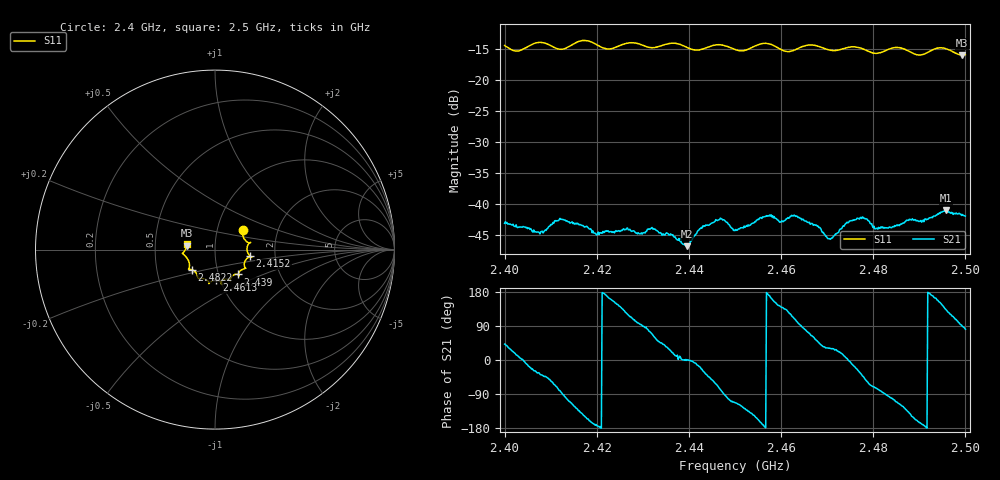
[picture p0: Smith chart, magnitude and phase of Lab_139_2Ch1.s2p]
# Hz S RI R 50
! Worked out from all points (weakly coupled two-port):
!   601 points, 2.4 GHz to 2.5 GHz, reference 50 ohm
!   highest |S21| = -41.01 dB at 2.4958 GHz (marker M1); lowest = -46.8 dB at 2.4395 GHz (marker M2)
!   lowest |S11| = -15.9 dB at 2.4993 GHz (marker M3), VSWR 1.38, Z = 36.3 + j1.61 ohm
!   |S11| at or under -10 dB: start of sweep to end of sweep
!   S12 and S22 are empty: the file has one direction only
!   S11 on the Smith chart (normalised r, x): 2.4 GHz: 1.33, +0.31; 2.4152 GHz: 1.48, -0.11; 2.439 GHz: 1.24, -0.36; 2.4613 GHz: 0.96, -0.34; 2.4822 GHz: 0.76, -0.17; 2.5 GHz: 0.73, +0.05
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2.4e9  0.1552 0.1113  0.00521 0.00468  0 0  0 0
2.402833e9  0.1595 0.065  0.00635 0.0013  0 0  0 0
2.407333e9  0.1982 0.0392  0.00498 -0.00328  0 0  0 0
2.411833e9  0.1781 0.00902  0.00128 -0.00737  0 0  0 0
2.415167e9  0.1953 -0.0364  -0.0037 -0.00584  0 0  0 0
2.416667e9  0.2046 -0.0426  -0.00517 -0.00437  0 0  0 0
2.42e9  0.1894 -0.0421  -0.00559 -0.000651  0 0  0 0
2.433333e9  0.1323 -0.1322  0.00389 0.00458  0 0  0 0
2.439e9  0.128 -0.1387  0.00475 6.02e-05  0 0  0 0
2.4395e9  0.1242 -0.1372  0.00458 -8.6e-05  0 0  0 0
2.446333e9  0.0857 -0.1739  0.00258 -0.00697  0 0  0 0
2.45e9  0.0686 -0.1638  -0.00235 -0.00565  0 0  0 0
2.456667e9  0.0393 -0.195  -0.00797 -0.000169  0 0  0 0
2.461333e9  0.00755 -0.1706  -0.00491 0.00587  0 0  0 0
2.466667e9  -0.0335 -0.1901  0.00304 0.00631  0 0  0 0
2.4705e9  -0.048 -0.169  0.00449 0.00273  0 0  0 0
2.476833e9  -0.0951 -0.1578  0.00667 -0.00374  0 0  0 0
2.482167e9  -0.1284 -0.1119  0.000436 -0.0064  0 0  0 0
2.483333e9  -0.1399 -0.1104  -0.000675 -0.00639  0 0  0 0
2.495833e9  -0.179 -0.0184  -0.00604 0.00655  0 0  0 0
2.499333e9  -0.1583 0.0217  0.0002 0.00826  0 0  0 0
2.5e9  -0.1578 0.0338  0.00122 0.00793  0 0  0 0
